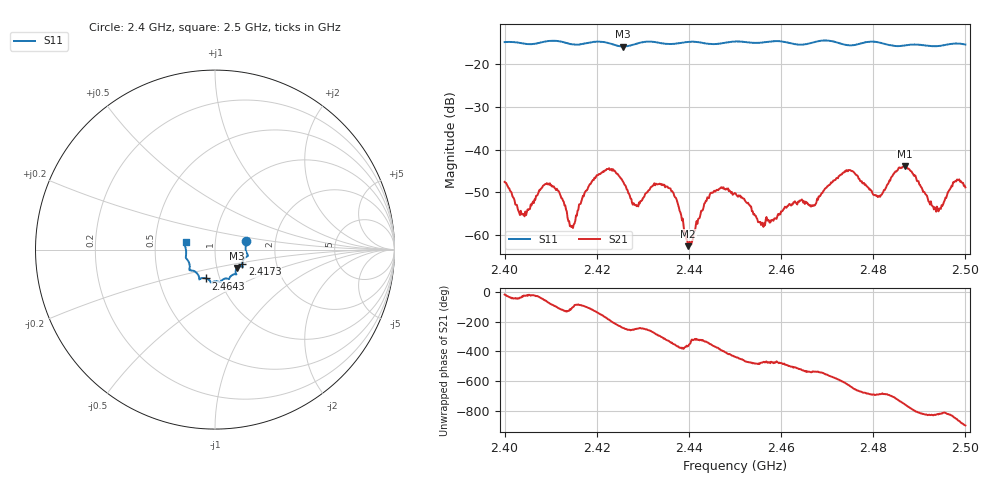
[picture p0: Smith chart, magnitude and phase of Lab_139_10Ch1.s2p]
# Hz S RI R 50
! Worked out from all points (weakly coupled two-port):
!   601 points, 2.4 GHz to 2.5 GHz, reference 50 ohm
!   highest |S21| = -43.91 dB at 2.4868 GHz (marker M1); lowest = -62.6 dB at 2.4398 GHz (marker M2)
!   lowest |S11| = -15.9 dB at 2.4257 GHz (marker M3), VSWR 1.38, Z = 62.5 - j13.1 ohm
!   |S11| at or under -10 dB: start of sweep to end of sweep
!   S12 and S22 are empty: the file has one direction only
!   S11 on the Smith chart (normalised r, x): 2.4 GHz: 1.41, +0.14; 2.4173 GHz: 1.34, -0.23; 2.4643 GHz: 0.86, -0.28; 2.5 GHz: 0.72, +0.06
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2.4e9  0.1733 0.0493  0.00406 -0.00107  0 0  0 0
2.403833e9  0.1723 0.0268  0.0016 -0.000771  0 0  0 0
2.409e9  0.1817 -0.0285  0.00215 -0.00333  0 0  0 0
2.4145e9  0.1624 -0.0512  -0.000442 -0.00116  0 0  0 0
2.416667e9  0.1528 -0.0746  0.000142 -0.00251  0 0  0 0
2.417333e9  0.1522 -0.0819  -0.000235 -0.00309  0 0  0 0
2.422167e9  0.1506 -0.0945  -0.00591 -0.000567  0 0  0 0
2.425667e9  0.1228 -0.1023  -0.00214 0.00368  0 0  0 0
2.4285e9  0.1151 -0.1277  -0.000819 0.00211  0 0  0 0
2.433333e9  0.1128 -0.137  0.00151 0.00365  0 0  0 0
2.436833e9  0.0883 -0.1476  0.00284 0.000381  0 0  0 0
2.439833e9  0.0796 -0.1624  0.000743 -4.78e-05  0 0  0 0
2.445e9  0.0558 -0.1615  0.00313 0.000182  0 0  0 0
2.45e9  0.0293 -0.1808  0.000786 -0.00301  0 0  0 0
2.456e9  -0.00663 -0.1782  -0.000595 -0.00126  0 0  0 0
2.464333e9  -0.0499 -0.1607  -0.00242 -0.000818  0 0  0 0
2.466667e9  -0.0757 -0.1596  -0.00223 -8.39e-06  0 0  0 0
2.474333e9  -0.1 -0.1325  -0.000828 0.00566  0 0  0 0
2.483333e9  -0.1406 -0.0899  0.00369 0.00176  0 0  0 0
2.486833e9  -0.1542 -0.0572  0.00505 -0.0039  0 0  0 0
2.493667e9  -0.1614 -0.00591  -0.000547 -0.0018  0 0  0 0
2.5e9  -0.1636 0.0419  -0.00362 6.16e-05  0 0  0 0
